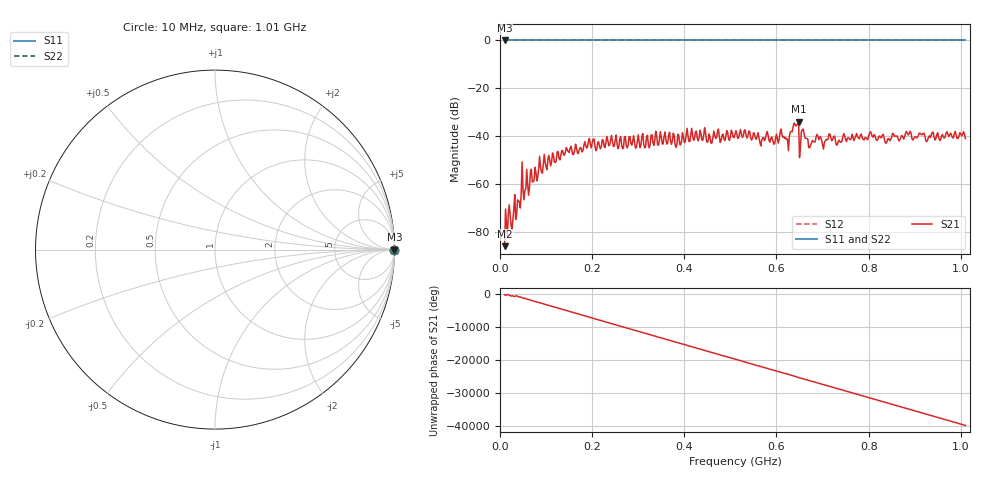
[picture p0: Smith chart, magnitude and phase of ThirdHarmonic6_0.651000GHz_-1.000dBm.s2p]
! 8/15/2025 9:36:28 PM
! C:\ANRITSUVNA\TEMP\TEMP.S2P
! CHANNEL.1
! TR.MEASUREMENT
! RAW.DATA
! RF.CORRECTION.OFF
! AVERAGING.OFF
! IF.BANDWIDTH: 5KHZ
! SWEEPTYPE:  FREQ.SWEEP(Linear)
! Reference Plane Port Info
! PORT:  PORT1  PORT2
! DISTANCE:  0  m  0  m
! TIME:  0  s  0  s
! PHASE.OFFSET:  0  deg.  0  deg.
! LOSS:  0  dB  0  dB
! REF.LOSS:  0  dB  0  dB
! REF.FREQ:  0  Hz  0  Hz
! Power Info
! POWER:  -20  dBm  -20  dBm
! EFF.POWER:  -20  dBm  -20  dBm
! SOURCE.ATTEN:  0  dB  0  dB
! TEST.ATTEN:  0  dB  0  dB
# GHZ S RI R 50.0
! FREQ.GHZ  S11RE  S11IM  S21RE  S21IM  S12RE  S12IM  S22RE  S22IM
!; PortSelection: Port_12
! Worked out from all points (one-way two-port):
!   501 points, 10 MHz to 1.01 GHz, reference 50 ohm
!   highest |S21| = -33.86 dB at 648 MHz (marker M1); lowest = -85.9 dB at 10 MHz (marker M2)
!   lowest |S11| = 0.0 dB at 10 MHz (marker M3)
!   |S11| at or under -10 dB: nowhere
!   |S22| runs from 0.0 to 0.0 dB; largest |S21 - S12| = 1
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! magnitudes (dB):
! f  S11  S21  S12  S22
! 10 MHz  0.0  -85.9  0.0  0.0
! 16 MHz  0.0  -81.8  0.0  0.0
! 26 MHz  0.0  -79.0  0.0  0.0
! 50 MHz  0.0  -62.7  0.0  0.0
! 86 MHz  0.0  -48.4  0.0  0.0
! 148 MHz  0.0  -46.4  0.0  0.0
! 178 MHz  0.0  -46.5  0.0  0.0
! 198 MHz  0.0  -44.9  0.0  0.0
! 344 MHz  0.0  -43.7  0.0  0.0
! 510 MHz  0.0  -39.2  0.0  0.0
! 594 MHz  0.0  -43.2  0.0  0.0
! 612 MHz  0.0  -39.5  0.0  0.0
! 622 MHz  0.0  -41.4  0.0  0.0
! 644 MHz  0.0  -35.2  0.0  0.0
! 648 MHz  0.0  -33.9  0.0  0.0
! 658 MHz  0.0  -37.0  0.0  0.0
! 678 MHz  0.0  -41.8  0.0  0.0
! 804 MHz  0.0  -38.1  0.0  0.0
! 844 MHz  0.0  -41.0  0.0  0.0
! 886 MHz  0.0  -39.4  0.0  0.0
! 926 MHz  0.0  -42.3  0.0  0.0
! 1.01 GHz  0.0  -40.9  0.0  0.0
